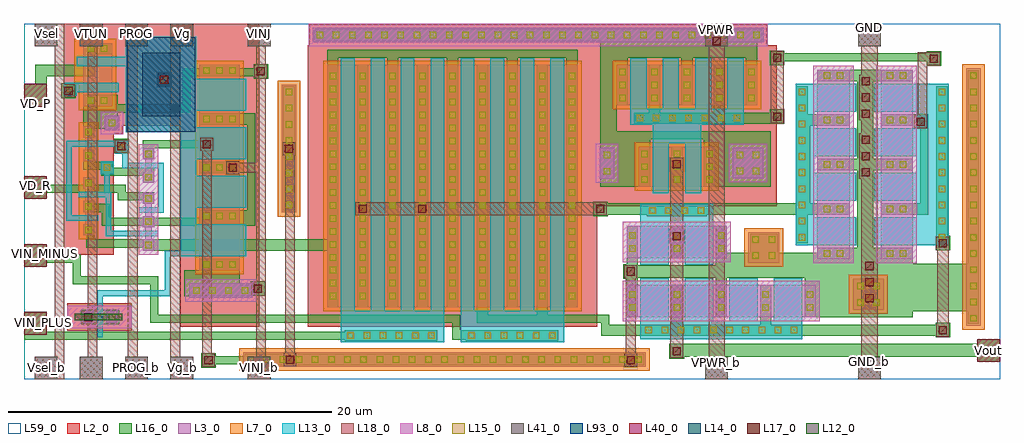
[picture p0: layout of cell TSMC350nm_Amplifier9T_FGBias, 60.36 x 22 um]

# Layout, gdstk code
from math import pi, radians
import gdstk
lib = gdstk.Library(unit=1e-6, precision=1e-09)
def R(c, l, rs):  # rectangles x0, y0, x1, y1
    for r in rs: c.add(gdstk.rectangle(r[:2], r[2:], *l))
def A(c, l, x, y, w, h, nx, ny, dx, dy):  # array of equal rectangles
    R(c, l, [(x+i*dx, y+j*dy, x+i*dx+w, y+j*dy+h) for i in range(nx) for j in range(ny)])
L2_0 = (2, 0)
L3_0 = (3, 0)
L7_0 = (7, 0)
L8_0 = (8, 0)
L12_0 = (12, 0)
L13_0 = (13, 0)
L14_0 = (14, 0)
L15_0 = (15, 0)
L16_0 = (16, 0)
L17_0 = (17, 0)
L18_0 = (18, 0)
L40_0 = (40, 0)
L41_0 = (41, 0)
L59_0 = (59, 0)
L93_0 = (93, 0)

pch_cdns_746573580120 = lib.new_cell('pch_CDNS_746573580120')
R(pch_cdns_746573580120, L2_0, [(-2.05,-1.2,13.05,3.7)])
A(pch_cdns_746573580120, L3_0, -0.85, 0, 0.7, 2.5, 5, 1, 3, 0)
A(pch_cdns_746573580120, L3_0, -0.15, 0, 2.3, 2.5, 4, 1, 3, 0)
R(pch_cdns_746573580120, L3_0, [(-0.85,0,-0.15,2.5), (11.15,0,11.85,2.5)])
R(pch_cdns_746573580120, L7_0, [(-1.1,-0.25,12.1,2.75)])
A(pch_cdns_746573580120, L13_0, 0, -0.4, 2, 3.1, 4, 1, 3, 0)
R(pch_cdns_746573580120, L13_0, [(0,2.7,11,3.05)])
A(pch_cdns_746573580120, L15_0, -0.7, 0.25, 0.4, 0.4, 5, 3, 3, 0.8)
A(pch_cdns_746573580120, L16_0, -0.85, 0, 0.7, 2.5, 5, 1, 3, 0)
R(pch_cdns_746573580120, L16_0, [(2.15,-0.95,8.85,-0.45), (2.15,-0.45,2.85,0), (8.15,-0.45,8.85,0)])
pch_cdns_746573580120.add(gdstk.Label('D', (8.5,1.25), layer=59, texttype=0))
pch_cdns_746573580120.add(gdstk.Label('D', (2.5,1.25), layer=59, texttype=0))
pch_cdns_746573580120.add(gdstk.Label('S', (5.5,1.25), layer=59, texttype=0))
pch_cdns_746573580120.add(gdstk.Label('S', (-0.5,1.25), layer=59, texttype=0))
pch_cdns_746573580120.add(gdstk.Label('S', (11.5,1.25), layer=59, texttype=0))
pch_cdns_746573580120.add(gdstk.Label('G', (10,1.15), layer=59, texttype=0))
pch_cdns_746573580120.add(gdstk.Label('G', (7,1.15), layer=59, texttype=0))
pch_cdns_746573580120.add(gdstk.Label('G', (4,1.15), layer=59, texttype=0))
pch_cdns_746573580120.add(gdstk.Label('G', (1,1.15), layer=59, texttype=0))

pch_cdns_746573580121 = lib.new_cell('pch_CDNS_746573580121')
R(pch_cdns_746573580121, L2_0, [(-2.05,-1.2,8.45,16.2)])
A(pch_cdns_746573580121, L3_0, -0.85, 0, 0.7, 15, 5, 1, 1.85, 0)
A(pch_cdns_746573580121, L3_0, -0.15, 0, 1.15, 15, 4, 1, 1.85, 0)
R(pch_cdns_746573580121, L3_0, [(-0.85,0,-0.15,15), (6.55,0,7.25,15)])
R(pch_cdns_746573580121, L7_0, [(-1.1,-0.25,7.5,15.25)])
A(pch_cdns_746573580121, L13_0, 0, -0.2, 0.85, 15.6, 4, 1, 1.85, 0)
R(pch_cdns_746573580121, L13_0, [(0,-0.55,6.4,-0.2)])
A(pch_cdns_746573580121, L15_0, -0.7, 0.5, 0.4, 0.4, 5, 18, 1.85, 0.8)
A(pch_cdns_746573580121, L16_0, -0.85, 0, 0.7, 15, 5, 1, 1.85, 0)
A(pch_cdns_746573580121, L16_0, -0.85, 15, 0.7, 0.45, 3, 1, 3.7, 0)
R(pch_cdns_746573580121, L16_0, [(1,-0.95,5.4,-0.45), (1,-0.45,1.7,0), (4.7,-0.45,5.4,0), (-0.85,15.45,7.25,15.95)])
pch_cdns_746573580121.add(gdstk.Label('D', (5.05,7.5), layer=59, texttype=0))
pch_cdns_746573580121.add(gdstk.Label('D', (1.35,7.5), layer=59, texttype=0))
pch_cdns_746573580121.add(gdstk.Label('S', (3.2,7.5), layer=59, texttype=0))
pch_cdns_746573580121.add(gdstk.Label('S', (-0.5,7.5), layer=59, texttype=0))
pch_cdns_746573580121.add(gdstk.Label('S', (6.9,7.5), layer=59, texttype=0))
pch_cdns_746573580121.add(gdstk.Label('G', (5.975,7.6), layer=59, texttype=0))
pch_cdns_746573580121.add(gdstk.Label('G', (4.125,7.6), layer=59, texttype=0))
pch_cdns_746573580121.add(gdstk.Label('G', (2.275,7.6), layer=59, texttype=0))
pch_cdns_746573580121.add(gdstk.Label('G', (0.425,7.6), layer=59, texttype=0))

nch_cdns_746573580122 = lib.new_cell('nch_CDNS_746573580122')
A(nch_cdns_746573580122, L3_0, -0.85, 0, 0.7, 2, 3, 1, 2.75, 0)
R(nch_cdns_746573580122, L3_0, [(-0.85,0,-0.15,2), (-0.15,0,1.9,2), (2.6,0,4.65,2), (4.65,0,5.35,2)])
R(nch_cdns_746573580122, L8_0, [(-1.1,-0.25,5.6,2.25)])
R(nch_cdns_746573580122, L13_0, [(0,-0.55,4.5,-0.2), (0,-0.2,1.75,2.4), (2.75,-0.2,4.5,2.4)])
A(nch_cdns_746573580122, L15_0, -0.7, 0.4, 0.4, 0.4, 3, 2, 2.75, 0.8)
A(nch_cdns_746573580122, L16_0, -0.85, 0, 0.7, 2, 3, 1, 2.75, 0)
R(nch_cdns_746573580122, L16_0, [(-0.85,2,-0.15,2.45), (4.65,2,5.35,2.45), (-0.85,2.45,5.35,2.95)])
nch_cdns_746573580122.add(gdstk.Label('D', (2.25,1), layer=59, texttype=0))
nch_cdns_746573580122.add(gdstk.Label('S', (-0.5,1), layer=59, texttype=0))
nch_cdns_746573580122.add(gdstk.Label('S', (5,1), layer=59, texttype=0))
nch_cdns_746573580122.add(gdstk.Label('G', (3.625,1.1), layer=59, texttype=0))
nch_cdns_746573580122.add(gdstk.Label('G', (0.875,1.1), layer=59, texttype=0))

pch_cdns_746573580123 = lib.new_cell('pch_CDNS_746573580123')
R(pch_cdns_746573580123, L2_0, [(-2.05,-1.2,5.05,3.7)])
A(pch_cdns_746573580123, L3_0, -0.85, 0, 0.7, 2.5, 3, 1, 2, 0)
R(pch_cdns_746573580123, L3_0, [(-0.85,0,-0.15,2.5), (-0.15,0,1.15,2.5), (1.85,0,3.15,2.5), (3.15,0,3.85,2.5)])
R(pch_cdns_746573580123, L7_0, [(-1.1,-0.25,4.1,2.75)])
R(pch_cdns_746573580123, L13_0, [(0,-0.4,1,2.7), (2,-0.4,3,2.7), (0,2.7,3,3.05)])
A(pch_cdns_746573580123, L15_0, -0.7, 0.25, 0.4, 0.4, 3, 3, 2, 0.8)
A(pch_cdns_746573580123, L16_0, -0.85, 0, 0.7, 2.5, 3, 1, 2, 0)
R(pch_cdns_746573580123, L16_0, [(-0.85,2.5,-0.15,2.95), (3.15,2.5,3.85,2.95), (-0.85,2.95,3.85,3.45)])
pch_cdns_746573580123.add(gdstk.Label('D', (1.5,1.25), layer=59, texttype=0))
pch_cdns_746573580123.add(gdstk.Label('S', (-0.5,1.25), layer=59, texttype=0))
pch_cdns_746573580123.add(gdstk.Label('S', (3.5,1.25), layer=59, texttype=0))
pch_cdns_746573580123.add(gdstk.Label('G', (2.5,1.15), layer=59, texttype=0))
pch_cdns_746573580123.add(gdstk.Label('G', (0.5,1.15), layer=59, texttype=0))

pch_cdns_746573580124 = lib.new_cell('pch_CDNS_746573580124')
R(pch_cdns_746573580124, L2_0, [(-2.05,-1.2,9.05,3.7)])
A(pch_cdns_746573580124, L3_0, -0.85, 0, 0.7, 2.5, 5, 1, 2, 0)
A(pch_cdns_746573580124, L3_0, -0.15, 0, 1.3, 2.5, 4, 1, 2, 0)
R(pch_cdns_746573580124, L3_0, [(-0.85,0,-0.15,2.5), (7.15,0,7.85,2.5)])
R(pch_cdns_746573580124, L7_0, [(-1.1,-0.25,8.1,2.75)])
A(pch_cdns_746573580124, L13_0, 0, -0.2, 1, 3.1, 4, 1, 2, 0)
R(pch_cdns_746573580124, L13_0, [(0,-0.55,7,-0.2)])
A(pch_cdns_746573580124, L15_0, -0.7, 0.25, 0.4, 0.4, 5, 3, 2, 0.8)
A(pch_cdns_746573580124, L16_0, -0.85, 0, 0.7, 2.5, 5, 1, 2, 0)
A(pch_cdns_746573580124, L16_0, -0.85, 2.5, 0.7, 0.45, 3, 1, 4, 0)
R(pch_cdns_746573580124, L16_0, [(1.15,-0.95,5.85,-0.45), (1.15,-0.45,1.85,0), (5.15,-0.45,5.85,0), (-0.85,2.95,7.85,3.45)])
pch_cdns_746573580124.add(gdstk.Label('D', (5.5,1.25), layer=59, texttype=0))
pch_cdns_746573580124.add(gdstk.Label('D', (1.5,1.25), layer=59, texttype=0))
pch_cdns_746573580124.add(gdstk.Label('S', (3.5,1.25), layer=59, texttype=0))
pch_cdns_746573580124.add(gdstk.Label('S', (-0.5,1.25), layer=59, texttype=0))
pch_cdns_746573580124.add(gdstk.Label('S', (7.5,1.25), layer=59, texttype=0))
pch_cdns_746573580124.add(gdstk.Label('G', (6.5,1.35), layer=59, texttype=0))
pch_cdns_746573580124.add(gdstk.Label('G', (4.5,1.35), layer=59, texttype=0))
pch_cdns_746573580124.add(gdstk.Label('G', (2.5,1.35), layer=59, texttype=0))
pch_cdns_746573580124.add(gdstk.Label('G', (0.5,1.35), layer=59, texttype=0))

nch_cdns_746573580125 = lib.new_cell('nch_CDNS_746573580125')
A(nch_cdns_746573580125, L3_0, -0.85, 0, 0.7, 2, 5, 1, 2.75, 0)
A(nch_cdns_746573580125, L3_0, -0.15, 0, 2.05, 2, 4, 1, 2.75, 0)
R(nch_cdns_746573580125, L3_0, [(-0.85,0,-0.15,2), (10.15,0,10.85,2)])
R(nch_cdns_746573580125, L8_0, [(-1.1,-0.25,11.1,2.25)])
A(nch_cdns_746573580125, L13_0, 0, -0.2, 1.75, 2.6, 4, 1, 2.75, 0)
R(nch_cdns_746573580125, L13_0, [(0,-0.55,10,-0.2)])
A(nch_cdns_746573580125, L15_0, -0.7, 0.4, 0.4, 0.4, 5, 2, 2.75, 0.8)
A(nch_cdns_746573580125, L16_0, -0.85, 0, 0.7, 2, 5, 1, 2.75, 0)
A(nch_cdns_746573580125, L16_0, -0.85, 2, 0.7, 0.45, 3, 1, 5.5, 0)
R(nch_cdns_746573580125, L16_0, [(1.9,-0.95,8.1,-0.45), (1.9,-0.45,2.6,0), (7.4,-0.45,8.1,0), (-0.85,2.45,10.85,2.95)])
nch_cdns_746573580125.add(gdstk.Label('D', (7.75,1), layer=59, texttype=0))
nch_cdns_746573580125.add(gdstk.Label('D', (2.25,1), layer=59, texttype=0))
nch_cdns_746573580125.add(gdstk.Label('S', (5,1), layer=59, texttype=0))
nch_cdns_746573580125.add(gdstk.Label('S', (-0.5,1), layer=59, texttype=0))
nch_cdns_746573580125.add(gdstk.Label('S', (10.5,1), layer=59, texttype=0))
nch_cdns_746573580125.add(gdstk.Label('G', (9.125,1.1), layer=59, texttype=0))
nch_cdns_746573580125.add(gdstk.Label('G', (6.375,1.1), layer=59, texttype=0))
nch_cdns_746573580125.add(gdstk.Label('G', (3.625,1.1), layer=59, texttype=0))
nch_cdns_746573580125.add(gdstk.Label('G', (0.875,1.1), layer=59, texttype=0))

pch_cdns_746573580126 = lib.new_cell('pch_CDNS_746573580126')
R(pch_cdns_746573580126, L2_0, [(-2.05,-1.2,2.65,3)])
R(pch_cdns_746573580126, L3_0, [(-0.85,0,-0.15,1.8), (-0.85,0,-0.15,1.8), (-0.15,0,0.75,1.8), (0.75,0,1.45,1.8), (0.75,0,1.45,1.8)])
R(pch_cdns_746573580126, L7_0, [(-1.1,-0.25,1.7,2.05)])
R(pch_cdns_746573580126, L13_0, [(0,-0.4,0.6,2.2)])
R(pch_cdns_746573580126, L15_0, [(0.9,0.3,1.3,0.7), (0.9,1.1,1.3,1.5)])
R(pch_cdns_746573580126, L16_0, [(0.75,0,1.45,1.8)])
pch_cdns_746573580126.add(gdstk.Label('S', (1.1,0.9), layer=59, texttype=0))
pch_cdns_746573580126.add(gdstk.Label('G', (0.3,0.9), layer=59, texttype=0))

pch_cdns_746573580127 = lib.new_cell('pch_CDNS_746573580127')
R(pch_cdns_746573580127, L2_0, [(-2.05,-1.2,2.65,3)])
R(pch_cdns_746573580127, L3_0, [(-0.85,0,-0.15,1.8), (-0.85,0,-0.15,1.8), (-0.15,0,0.75,1.8), (0.75,0,1.45,1.8), (0.75,0,1.45,1.8)])
R(pch_cdns_746573580127, L7_0, [(-1.1,-0.25,1.7,2.05)])
R(pch_cdns_746573580127, L13_0, [(0,-0.4,0.6,2.2)])
R(pch_cdns_746573580127, L15_0, [(-0.7,0.3,-0.3,0.7), (-0.7,1.1,-0.3,1.5)])
R(pch_cdns_746573580127, L16_0, [(-0.85,0,-0.15,1.8)])
pch_cdns_746573580127.add(gdstk.Label('D', (-0.5,0.9), layer=59, texttype=0))
pch_cdns_746573580127.add(gdstk.Label('G', (0.3,0.9), layer=59, texttype=0))

pch_cdns_746573580128 = lib.new_cell('pch_CDNS_746573580128')
R(pch_cdns_746573580128, L2_0, [(-2.1,-1.35,2.45,1.75)])
R(pch_cdns_746573580128, L3_0, [(-0.9,-0.15,-0.2,0.55), (0.55,-0.15,1.25,0.55), (-0.9,0,-0.2,0.4), (-0.2,0,0.55,0.4), (0.55,0,1.25,0.4)])
R(pch_cdns_746573580128, L7_0, [(-1.15,-0.4,1.5,0.8)])
R(pch_cdns_746573580128, L13_0, [(0,-0.4,0.35,0.8)])
R(pch_cdns_746573580128, L15_0, [(-0.75,0,-0.35,0.4), (0.7,0,1.1,0.4)])
R(pch_cdns_746573580128, L16_0, [(-0.9,-0.15,-0.2,0.55), (0.55,-0.15,1.25,0.55)])
pch_cdns_746573580128.add(gdstk.Label('D', (0.9,0.2), layer=59, texttype=0))
pch_cdns_746573580128.add(gdstk.Label('S', (-0.55,0.2), layer=59, texttype=0))
pch_cdns_746573580128.add(gdstk.Label('G', (0.175,0.2), layer=59, texttype=0))

pch_cdns_746573580129 = lib.new_cell('pch_CDNS_746573580129')
R(pch_cdns_746573580129, L2_0, [(-2.1,-1.35,3.9,1.75)])
A(pch_cdns_746573580129, L3_0, -0.9, -0.15, 0.7, 0.7, 3, 1, 1.45, 0)
R(pch_cdns_746573580129, L3_0, [(-0.9,0,-0.2,0.4), (-0.2,0,0.55,0.4), (1.25,0,2,0.4), (2,0,2.7,0.4)])
R(pch_cdns_746573580129, L7_0, [(-1.15,-0.4,2.95,0.8)])
R(pch_cdns_746573580129, L13_0, [(0,-0.4,0.35,0.8), (1.45,-0.4,1.8,0.8)])
A(pch_cdns_746573580129, L15_0, -0.75, 0, 0.4, 0.4, 3, 1, 1.45, 0)
A(pch_cdns_746573580129, L16_0, -0.9, -0.15, 0.7, 0.7, 3, 1, 1.45, 0)
pch_cdns_746573580129.add(gdstk.Label('D', (0.9,0.2), layer=59, texttype=0))
pch_cdns_746573580129.add(gdstk.Label('S', (-0.55,0.2), layer=59, texttype=0))
pch_cdns_746573580129.add(gdstk.Label('S', (2.35,0.2), layer=59, texttype=0))
pch_cdns_746573580129.add(gdstk.Label('G', (1.625,0.2), layer=59, texttype=0))
pch_cdns_746573580129.add(gdstk.Label('G', (0.175,0.2), layer=59, texttype=0))

nch_cdns_7465735801210 = lib.new_cell('nch_CDNS_7465735801210')
A(nch_cdns_7465735801210, L3_0, -0.9, -0.15, 0.7, 0.7, 3, 1, 1.45, 0)
R(nch_cdns_7465735801210, L3_0, [(-0.9,0,-0.2,0.4), (-0.2,0,0.55,0.4), (1.25,0,2,0.4), (2,0,2.7,0.4)])
R(nch_cdns_7465735801210, L8_0, [(-1.15,-0.4,2.95,0.8)])
R(nch_cdns_7465735801210, L13_0, [(0,-0.4,0.35,0.8), (1.45,-0.4,1.8,0.8)])
A(nch_cdns_7465735801210, L15_0, -0.75, 0, 0.4, 0.4, 3, 1, 1.45, 0)
A(nch_cdns_7465735801210, L16_0, -0.9, -0.15, 0.7, 0.7, 3, 1, 1.45, 0)
nch_cdns_7465735801210.add(gdstk.Label('D', (0.9,0.2), layer=59, texttype=0))
nch_cdns_7465735801210.add(gdstk.Label('S', (-0.55,0.2), layer=59, texttype=0))
nch_cdns_7465735801210.add(gdstk.Label('S', (2.35,0.2), layer=59, texttype=0))
nch_cdns_7465735801210.add(gdstk.Label('G', (1.625,0.2), layer=59, texttype=0))
nch_cdns_7465735801210.add(gdstk.Label('G', (0.175,0.2), layer=59, texttype=0))

nch_cdns_7465735801211 = lib.new_cell('nch_CDNS_7465735801211')
R(nch_cdns_7465735801211, L3_0, [(-0.9,-0.15,-0.2,0.55), (0.55,-0.15,1.25,0.55), (-0.9,0,-0.2,0.4), (-0.2,0,0.55,0.4), (0.55,0,1.25,0.4)])
R(nch_cdns_7465735801211, L8_0, [(-1.15,-0.4,1.5,0.8)])
R(nch_cdns_7465735801211, L13_0, [(0,-0.4,0.35,0.8)])
R(nch_cdns_7465735801211, L15_0, [(-0.75,0,-0.35,0.4), (0.7,0,1.1,0.4)])
R(nch_cdns_7465735801211, L16_0, [(-0.9,-0.15,-0.2,0.55), (0.55,-0.15,1.25,0.55)])
nch_cdns_7465735801211.add(gdstk.Label('D', (0.9,0.2), layer=59, texttype=0))
nch_cdns_7465735801211.add(gdstk.Label('S', (-0.55,0.2), layer=59, texttype=0))
nch_cdns_7465735801211.add(gdstk.Label('G', (0.175,0.2), layer=59, texttype=0))

pch_cdns_7465735801212 = lib.new_cell('pch_CDNS_7465735801212')
R(pch_cdns_7465735801212, L2_0, [(-2.05,-1.2,8.45,16.2)])
A(pch_cdns_7465735801212, L3_0, -0.85, 0, 0.7, 15, 5, 1, 1.85, 0)
A(pch_cdns_7465735801212, L3_0, -0.15, 0, 1.15, 15, 4, 1, 1.85, 0)
R(pch_cdns_7465735801212, L3_0, [(-0.85,0,-0.15,15), (6.55,0,7.25,15)])
R(pch_cdns_7465735801212, L7_0, [(-1.1,-0.25,7.5,15.25)])
A(pch_cdns_7465735801212, L13_0, 0, -0.2, 0.85, 15.6, 4, 1, 1.85, 0)
R(pch_cdns_7465735801212, L13_0, [(0,-0.55,6.4,-0.2)])
A(pch_cdns_7465735801212, L15_0, -0.7, 0.5, 0.4, 0.4, 5, 18, 1.85, 0.8)
A(pch_cdns_7465735801212, L16_0, -0.85, 0, 0.7, 15, 5, 1, 1.85, 0)
A(pch_cdns_7465735801212, L16_0, -0.85, 15, 0.7, 0.45, 3, 1, 3.7, 0)
R(pch_cdns_7465735801212, L16_0, [(-0.85,15.45,7.25,15.95)])
pch_cdns_7465735801212.add(gdstk.Label('D', (5.05,7.5), layer=59, texttype=0))
pch_cdns_7465735801212.add(gdstk.Label('D', (1.35,7.5), layer=59, texttype=0))
pch_cdns_7465735801212.add(gdstk.Label('S', (3.2,7.5), layer=59, texttype=0))
pch_cdns_7465735801212.add(gdstk.Label('S', (-0.5,7.5), layer=59, texttype=0))
pch_cdns_7465735801212.add(gdstk.Label('S', (6.9,7.5), layer=59, texttype=0))
pch_cdns_7465735801212.add(gdstk.Label('G', (5.975,7.6), layer=59, texttype=0))
pch_cdns_7465735801212.add(gdstk.Label('G', (4.125,7.6), layer=59, texttype=0))
pch_cdns_7465735801212.add(gdstk.Label('G', (2.275,7.6), layer=59, texttype=0))
pch_cdns_7465735801212.add(gdstk.Label('G', (0.425,7.6), layer=59, texttype=0))

m1_nwell_cdns_7465735801 = lib.new_cell('M1_NWELL_CDNS_746573580120')
R(m1_nwell_cdns_7465735801, L2_0, [(-2.15,-0.65,2.15,0.65)])
R(m1_nwell_cdns_7465735801, L3_0, [(-1.95,-0.45,1.95,0.45)])
R(m1_nwell_cdns_7465735801, L8_0, [(-2.2,-0.7,2.2,0.7)])
A(m1_nwell_cdns_7465735801, L15_0, -1.7, -0.2, 0.4, 0.4, 4, 1, 1, 0)
R(m1_nwell_cdns_7465735801, L16_0, [(-1.85,-0.35,1.85,0.35)])

c_m1_nwell_cdns_7465735801 = lib.new_cell('M1_NWELL_CDNS_746573580121')
R(c_m1_nwell_cdns_7465735801, L2_0, [(-0.65,-1.15,0.65,1.15)])
R(c_m1_nwell_cdns_7465735801, L3_0, [(-0.45,-0.95,0.45,0.95)])
R(c_m1_nwell_cdns_7465735801, L8_0, [(-0.7,-1.2,0.7,1.2)])
R(c_m1_nwell_cdns_7465735801, L15_0, [(-0.2,-0.7,0.2,-0.3), (-0.2,0.3,0.2,0.7)])
R(c_m1_nwell_cdns_7465735801, L16_0, [(-0.35,-0.85,0.35,0.85)])

c_m1_nwell_cdns_7465735801_ = lib.new_cell('M1_NWELL_CDNS_746573580122')
R(c_m1_nwell_cdns_7465735801_, L2_0, [(-1.15,-1.15,1.15,1.15)])
R(c_m1_nwell_cdns_7465735801_, L3_0, [(-0.95,-0.95,0.95,0.95)])
R(c_m1_nwell_cdns_7465735801_, L8_0, [(-1.2,-1.2,1.2,1.2)])
R(c_m1_nwell_cdns_7465735801_, L15_0, [(-0.7,-0.7,-0.3,-0.3), (0.3,-0.7,0.7,-0.3), (-0.7,0.3,-0.3,0.7), (0.3,0.3,0.7,0.7)])
R(c_m1_nwell_cdns_7465735801_, L16_0, [(-0.85,-0.85,0.85,0.85)])

m1_poly1_cdns_7465735801 = lib.new_cell('M1_POLY1_CDNS_746573580123')
R(m1_poly1_cdns_7465735801, L13_0, [(-0.4,-0.4,0.4,0.4)])
R(m1_poly1_cdns_7465735801, L15_0, [(-0.2,-0.2,0.2,0.2)])
R(m1_poly1_cdns_7465735801, L16_0, [(-0.45,-0.45,0.45,0.45)])

m1_pactive_cdns_74657358 = lib.new_cell('M1_PACTIVE_CDNS_746573580124')
R(m1_pactive_cdns_74657358, L3_0, [(-0.95,-0.95,0.95,0.95)])
R(m1_pactive_cdns_74657358, L7_0, [(-1.2,-1.2,1.2,1.2)])
R(m1_pactive_cdns_74657358, L15_0, [(-0.7,-0.7,-0.3,-0.3), (0.3,-0.7,0.7,-0.3), (-0.7,0.3,-0.3,0.7), (0.3,0.3,0.7,0.7)])
R(m1_pactive_cdns_74657358, L16_0, [(-0.85,-0.85,0.85,0.85)])

c_m1_nwell_cdns_7465735801__ = lib.new_cell('M1_NWELL_CDNS_746573580125')
R(c_m1_nwell_cdns_7465735801__, L2_0, [(-14.15,-0.65,14.15,0.65)])
R(c_m1_nwell_cdns_7465735801__, L3_0, [(-13.95,-0.45,13.95,0.45)])
R(c_m1_nwell_cdns_7465735801__, L8_0, [(-14.2,-0.7,14.2,0.7)])
A(c_m1_nwell_cdns_7465735801__, L15_0, -13.7, -0.2, 0.4, 0.4, 28, 1, 1, 0)
R(c_m1_nwell_cdns_7465735801__, L16_0, [(-13.85,-0.35,13.85,0.35)])

c_m1_pactive_cdns_74657358 = lib.new_cell('M1_PACTIVE_CDNS_746573580126')
R(c_m1_pactive_cdns_74657358, L3_0, [(-0.45,-7.95,0.45,7.95)])
R(c_m1_pactive_cdns_74657358, L7_0, [(-0.7,-8.2,0.7,8.2)])
A(c_m1_pactive_cdns_74657358, L15_0, -0.2, -7.7, 0.4, 0.4, 1, 16, 0, 1)
R(c_m1_pactive_cdns_74657358, L16_0, [(-0.35,-7.85,0.35,7.85)])

m2_m1_cdns_746573580127 = lib.new_cell('M2_M1_CDNS_746573580127')
R(m2_m1_cdns_746573580127, L16_0, [(-0.45,-0.45,0.45,0.45)])
R(m2_m1_cdns_746573580127, L17_0, [(-0.25,-0.25,0.25,0.25)])
R(m2_m1_cdns_746573580127, L18_0, [(-0.4,-0.4,0.4,0.4)])

m2_m1_cdns_746573580128 = lib.new_cell('M2_M1_CDNS_746573580128')
R(m2_m1_cdns_746573580128, L16_0, [(-0.45,-1.45,0.45,1.45)])
A(m2_m1_cdns_746573580128, L17_0, -0.25, -1.25, 0.5, 0.5, 1, 3, 0, 1)
R(m2_m1_cdns_746573580128, L18_0, [(-0.4,-1.4,0.4,1.4)])

c_m1_poly1_cdns_7465735801 = lib.new_cell('M1_POLY1_CDNS_746573580129')
R(c_m1_poly1_cdns_7465735801, L13_0, [(-0.4,-4.9,0.4,4.9)])
A(c_m1_poly1_cdns_7465735801, L15_0, -0.2, -4.7, 0.4, 0.4, 1, 10, 0, 1)
R(c_m1_poly1_cdns_7465735801, L16_0, [(-0.35,-4.85,0.35,4.85)])

c_m1_poly1_cdns_7465735801_ = lib.new_cell('M1_POLY1_CDNS_7465735801210')
R(c_m1_poly1_cdns_7465735801_, L13_0, [(-2.9,-0.4,2.9,0.4)])
A(c_m1_poly1_cdns_7465735801_, L15_0, -2.7, -0.2, 0.4, 0.4, 6, 1, 1, 0)
R(c_m1_poly1_cdns_7465735801_, L16_0, [(-2.85,-0.35,2.85,0.35)])

c_m1_poly1_cdns_7465735801__ = lib.new_cell('M1_POLY1_CDNS_7465735801211')
R(c_m1_poly1_cdns_7465735801__, L13_0, [(-1.9,-0.4,1.9,0.4)])
A(c_m1_poly1_cdns_7465735801__, L15_0, -1.7, -0.2, 0.4, 0.4, 4, 1, 1, 0)
R(c_m1_poly1_cdns_7465735801__, L16_0, [(-1.85,-0.35,1.85,0.35)])

c_m1_poly1_cdns_7465735801___ = lib.new_cell('M1_POLY1_CDNS_7465735801212')
R(c_m1_poly1_cdns_7465735801___, L13_0, [(-3.4,-0.4,3.4,0.4)])
A(c_m1_poly1_cdns_7465735801___, L15_0, -3.2, -0.2, 0.4, 0.4, 7, 1, 1, 0)
R(c_m1_poly1_cdns_7465735801___, L16_0, [(-3.35,-0.35,3.35,0.35)])

c_m1_poly1_cdns_7465735801____ = lib.new_cell('M1_POLY1_CDNS_7465735801213')
R(c_m1_poly1_cdns_7465735801____, L13_0, [(-4.9,-0.4,4.9,0.4)])
A(c_m1_poly1_cdns_7465735801____, L15_0, -4.7, -0.2, 0.4, 0.4, 10, 1, 1, 0)
R(c_m1_poly1_cdns_7465735801____, L16_0, [(-4.85,-0.35,4.85,0.35)])

c_m1_pactive_cdns_74657358_ = lib.new_cell('M1_PACTIVE_CDNS_7465735801214')
R(c_m1_pactive_cdns_74657358_, L3_0, [(-12.45,-0.45,12.45,0.45)])
R(c_m1_pactive_cdns_74657358_, L7_0, [(-12.7,-0.7,12.7,0.7)])
A(c_m1_pactive_cdns_74657358_, L15_0, -12.2, -0.2, 0.4, 0.4, 25, 1, 1, 0)
R(c_m1_pactive_cdns_74657358_, L16_0, [(-12.35,-0.35,12.35,0.35)])

c_m1_nwell_cdns_7465735801___ = lib.new_cell('M1_NWELL_CDNS_7465735801215')
R(c_m1_nwell_cdns_7465735801___, L2_0, [(-0.65,-0.65,0.65,0.65)])
R(c_m1_nwell_cdns_7465735801___, L3_0, [(-0.45,-0.45,0.45,0.45)])
R(c_m1_nwell_cdns_7465735801___, L8_0, [(-0.7,-0.7,0.7,0.7)])
R(c_m1_nwell_cdns_7465735801___, L15_0, [(-0.2,-0.2,0.2,0.2)])
R(c_m1_nwell_cdns_7465735801___, L16_0, [(-0.35,-0.35,0.35,0.35)])

c_m1_poly1_cdns_7465735801_____ = lib.new_cell('M1_POLY1_CDNS_7465735801216')
R(c_m1_poly1_cdns_7465735801_____, L13_0, [(-0.4,-0.4,0.4,0.4)])
R(c_m1_poly1_cdns_7465735801_____, L15_0, [(-0.2,-0.2,0.2,0.2)])
R(c_m1_poly1_cdns_7465735801_____, L16_0, [(-0.35,-0.35,0.35,0.35)])

c_m1_pactive_cdns_74657358__ = lib.new_cell('M1_PACTIVE_CDNS_7465735801217')
R(c_m1_pactive_cdns_74657358__, L3_0, [(-0.45,-3.95,0.45,3.95)])
R(c_m1_pactive_cdns_74657358__, L7_0, [(-0.7,-4.2,0.7,4.2)])
A(c_m1_pactive_cdns_74657358__, L15_0, -0.2, -3.7, 0.4, 0.4, 1, 8, 0, 1)
R(c_m1_pactive_cdns_74657358__, L16_0, [(-0.35,-3.85,0.35,3.85)])

tsmc350nm_amplifier9t_fg = lib.new_cell('TSMC350nm_Amplifier9T_FGBias')
R(tsmc350nm_amplifier9t_fg, L2_0, [(2.66,3,6.65,4.7), (9.65,3.25,14.55,5.55), (35.45,10.7,46.55,15.75), (6.65,15.7,9.65,20.65), (6.65,20.65,14.55,22)])
R(tsmc350nm_amplifier9t_fg, L3_0, [(3.62,3.5,4.32,4.2), (5.08,3.5,5.78,4.2)])
R(tsmc350nm_amplifier9t_fg, L7_0, [(3.4,12.75,4.6,13.25), (3.1,18.25,3.4,21.05)])
R(tsmc350nm_amplifier9t_fg, L8_0, [(2.66,3.15,6.65,4.55), (7.1,11.8,8.3,11.9)])
R(tsmc350nm_amplifier9t_fg, L12_0, [(3.14,3.65,6.09,4.05)])
R(tsmc350nm_amplifier9t_fg, L13_0, [(19.6,2.3,26,3.9), (27,2.3,33.4,3.1), (38.12,2.49,48.12,3.29), (4.53,2.62,4.88,5.15), (27,3.1,33.4,3.9), (4.53,5.15,9.05,5.5), (8.7,5.5,9.05,7.77), (8.7,7.6,9.69,7.95), (9.65,7.6,10.3,18.6), (47.72,8.29,48.52,18.29), (55.52,8.29,57.18,18.29), (5.05,8.85,7.1,9.2), (5.05,8.98,5.4,11.6), (2.6,9.8,2.95,14.75), (2.79,9.8,3.79,10.15), (38.12,10.05,42.62,10.85), (8.3,10.3,8.65,13.4), (4.6,11.25,5.31,11.6), (4.96,11.25,5.31,13.07), (6.09,13.05,6.44,14.74), (6.1,13.05,7.1,13.4), (2.79,14.4,3.79,14.75), (4.6,14.4,6.44,14.75), (38.88,14.95,41.88,15.8), (6.3,15.27,10.65,21.2), (37.5,15.75,44.5,16.4), (5.85,19.35,6.3,19.95)])
R(tsmc350nm_amplifier9t_fg, L14_0, [(7.3,16.27,9.65,20.2)])
R(tsmc350nm_amplifier9t_fg, L15_0, [(3.77,3.65,4.17,4.05), (5.23,3.65,5.63,4.05)])
A(tsmc350nm_amplifier9t_fg, L16_0, 0, 2.77, 1.4, 1.4, 1, 3, 0, 4.2)
R(tsmc350nm_amplifier9t_fg, L16_0, [(58.96,1.09,60.36,2.49), (26.98,2.95,27.33,3.05), (3.52,3.4,4.42,4.3), (3.52,3.4,4.42,4.3), (3.52,3.4,5.88,4.3), (4.98,3.4,5.88,4.3), (4.98,3.4,5.88,4.3), (48.97,3.84,54.97,6.79), (54.83,4.22,58.46,7.14), (9.9,5.15,13.35,6.75), (43.47,6.79,54.97,7.83), (36.15,11.9,38.03,15.35), (42.73,11.9,46.19,15.35), (4.79,12.6,4.99,12.82), (3.65,13.37,4.35,13.5), (3.65,15.5,5.79,17.6), (0,16.87,1.4,18.27), (3.65,16.9,5.45,17.6), (36.65,20.4,45.35,20.95)])
R(tsmc350nm_amplifier9t_fg, L17_0, [(3.73,3.6,4.23,4.1)])
A(tsmc350nm_amplifier9t_fg, L18_0, 0.66, 0, 1.4, 1.4, 4, 2, 2.8, 20.6)
R(tsmc350nm_amplifier9t_fg, L18_0, [(13.85,0,15.25,1.4), (42.13,0,43.53,1.4), (51.59,0,52.99,1.4), (3.56,3.45,4.36,4.25), (13.85,20.6,15.25,22), (42.13,20.6,43.53,22), (51.59,20.6,52.99,22)])
R(tsmc350nm_amplifier9t_fg, L40_0, [(58.96,1.09,60.36,2.49), (0,2.76,1.4,4.16), (0,6.97,1.4,8.37), (0,11.17,1.4,12.57), (0,16.87,1.4,18.27)])
A(tsmc350nm_amplifier9t_fg, L41_0, 0.66, 0, 1.4, 1.4, 4, 2, 2.8, 20.6)
R(tsmc350nm_amplifier9t_fg, L41_0, [(13.85,0,15.25,1.4), (51.59,0,52.99,1.4), (42.13,0.01,43.53,1.4), (13.85,20.6,15.25,22), (51.59,20.6,52.99,22), (42.13,20.61,43.53,22)])
R(tsmc350nm_amplifier9t_fg, L59_0, [(0,0,60.36,22)])
R(tsmc350nm_amplifier9t_fg, L93_0, [(6.35,15.32,10.6,21.15)])
tsmc350nm_amplifier9t_fg.add(gdstk.FlexPath([(1.15,7.46),(3.25,7.46)], 0.5, ends="extended", simple_path=True, layer=16, datatype=0))  # L16_0
tsmc350nm_amplifier9t_fg.add(gdstk.FlexPath([(1.15,6.97),(1.15,7.46)], 0.5, ends=(0, 0.25), simple_path=True, layer=16, datatype=0))  # L16_0
tsmc350nm_amplifier9t_fg.add(gdstk.FlexPath([(3.25,7.46),(3.25,6.12)], 0.5, ends="extended", simple_path=True, layer=16, datatype=0))  # L16_0
tsmc350nm_amplifier9t_fg.add(gdstk.FlexPath([(26.01,1.18),(26.01,1.22)], 0.5, ends=(0.25, 0), simple_path=True, layer=16, datatype=0))  # L16_0
tsmc350nm_amplifier9t_fg.add(gdstk.FlexPath([(7.35,14.55),(11.31,14.55)], 0.5, ends="flush", simple_path=True, layer=16, datatype=0))  # L16_0
tsmc350nm_amplifier9t_fg.add(gdstk.FlexPath([(10.05,19),(14.93,19)], 0.5, ends=(0.25, 0), simple_path=True, layer=16, datatype=0))  # L16_0
tsmc350nm_amplifier9t_fg.add(gdstk.FlexPath([(10.05,16.75),(10.05,19)], 0.5, ends="extended", simple_path=True, layer=16, datatype=0))  # L16_0
tsmc350nm_amplifier9t_fg.add(gdstk.FlexPath([(5.63,16.75),(10.05,16.75)], 0.5, ends=(0, 0.25), simple_path=True, layer=16, datatype=0))  # L16_0
tsmc350nm_amplifier9t_fg.add(gdstk.FlexPath([(1.05,19.1),(1.05,18.25)], 0.7, ends=(0.35, 0), simple_path=True, layer=16, datatype=0))  # L16_0
tsmc350nm_amplifier9t_fg.add(gdstk.FlexPath([(4.02,19.1),(1.05,19.1)], 0.7, ends="extended", simple_path=True, layer=16, datatype=0))  # L16_0
tsmc350nm_amplifier9t_fg.add(gdstk.FlexPath([(26.74,2.7),(30.18,2.7)], 0.5, ends=(0.25, 0), simple_path=True, layer=16, datatype=0))  # L16_0
tsmc350nm_amplifier9t_fg.add(gdstk.FlexPath([(8.06,6.12),(8.06,3.75)], 0.5, ends="extended", simple_path=True, layer=16, datatype=0))  # L16_0
tsmc350nm_amplifier9t_fg.add(gdstk.FlexPath([(26.74,3.75),(26.74,2.7)], 0.5, ends="extended", simple_path=True, layer=16, datatype=0))  # L16_0
tsmc350nm_amplifier9t_fg.add(gdstk.FlexPath([(8.06,3.75),(26.74,3.75)], 0.5, ends="extended", simple_path=True, layer=16, datatype=0))  # L16_0
tsmc350nm_amplifier9t_fg.add(gdstk.FlexPath([(11.28,1.18),(26.01,1.18)], 0.5, ends=(0, 0.25), simple_path=True, layer=16, datatype=0))  # L16_0
tsmc350nm_amplifier9t_fg.add(gdstk.FlexPath([(3.65,13.2),(5.24,13.2)], 0.5, ends=(0, 0.25), simple_path=True, layer=16, datatype=0))  # L16_0
tsmc350nm_amplifier9t_fg.add(gdstk.FlexPath([(6.05,11.8),(6.05,11.32)], 0.5, ends="extended", simple_path=True, layer=16, datatype=0))  # L16_0
tsmc350nm_amplifier9t_fg.add(gdstk.FlexPath([(5.24,13.2),(5.24,12.85)], 0.5, ends="extended", simple_path=True, layer=16, datatype=0))  # L16_0
tsmc350nm_amplifier9t_fg.add(gdstk.FlexPath([(4,10.6),(5.05,10.6)], 0.5, ends=(0, 0.25), simple_path=True, layer=16, datatype=0))  # L16_0
tsmc350nm_amplifier9t_fg.add(gdstk.FlexPath([(5.05,10.6),(5.05,9.75)], 0.5, ends="extended", simple_path=True, layer=16, datatype=0))  # L16_0
tsmc350nm_amplifier9t_fg.add(gdstk.FlexPath([(5.24,12.85),(8.05,12.85)], 0.5, ends=(0.25, 0), simple_path=True, layer=16, datatype=0))  # L16_0
tsmc350nm_amplifier9t_fg.add(gdstk.FlexPath([(4.1,8.9),(4.1,8.4)], 0.5, ends=(0, 0.25), simple_path=True, layer=16, datatype=0))  # L16_0
tsmc350nm_amplifier9t_fg.add(gdstk.FlexPath([(4.1,8.4),(8.05,8.4)], 0.5, ends=(0.25, 0), simple_path=True, layer=16, datatype=0))  # L16_0
tsmc350nm_amplifier9t_fg.add(gdstk.FlexPath([(5.05,9.75),(14.3,9.75)], 0.5, ends=(0.25, 0), simple_path=True, layer=16, datatype=0))  # L16_0
tsmc350nm_amplifier9t_fg.add(gdstk.FlexPath([(4.02,20.45),(4.02,19.1)], 0.7, ends="extended", simple_path=True, layer=16, datatype=0))  # L16_0
tsmc350nm_amplifier9t_fg.add(gdstk.FlexPath([(0.04,11.8),(6.05,11.8)], 0.5, ends=(0, 0.25), simple_path=True, layer=16, datatype=0))  # L16_0
tsmc350nm_amplifier9t_fg.add(gdstk.FlexPath([(6.05,11.32),(8.05,11.32)], 0.5, ends=(0.25, 0), simple_path=True, layer=16, datatype=0))  # L16_0
tsmc350nm_amplifier9t_fg.add(gdstk.FlexPath([(0.25,2.7),(0.25,2.76)], 0.5, ends=(0.25, 0), simple_path=True, layer=16, datatype=0))  # L16_0
tsmc350nm_amplifier9t_fg.add(gdstk.FlexPath([(29.3,21.3),(36.11,21.3)], 0.7, ends=(0, 0.25), simple_path=True, layer=16, datatype=0))  # L16_0
tsmc350nm_amplifier9t_fg.add(gdstk.FlexPath([(36.15,21.3),(36.15,11.9)], 1, ends=(0.35, 0), simple_path=True, layer=16, datatype=0))  # L16_0
tsmc350nm_amplifier9t_fg.add(gdstk.FlexPath([(8.05,8.3),(18.98,8.3)], 0.7, ends="flush", simple_path=True, layer=16, datatype=0))  # L16_0
tsmc350nm_amplifier9t_fg.add(gdstk.FlexPath([(48.13,10.54),(35.65,10.54)], 0.7, ends=(0, 0.35), simple_path=True, layer=16, datatype=0))  # L16_0
tsmc350nm_amplifier9t_fg.add(gdstk.FlexPath([(35.65,10.54),(35.65,10.55)], 0.7, ends=(0.35, 0), simple_path=True, layer=16, datatype=0))  # L16_0
tsmc350nm_amplifier9t_fg.add(gdstk.FlexPath([(20.08,2.7),(0.25,2.7)], 0.5, ends=(0, 0.25), simple_path=True, layer=16, datatype=0))  # L16_0
tsmc350nm_amplifier9t_fg.add(gdstk.FlexPath([(3.25,6.12),(8.06,6.12)], 0.5, ends="extended", simple_path=True, layer=16, datatype=0))  # L16_0
tsmc350nm_amplifier9t_fg.add(gdstk.FlexPath([(40.37,1.79),(60.36,1.79)], 0.8, ends="flush", simple_path=True, layer=16, datatype=0))  # L16_0
tsmc350nm_amplifier9t_fg.add(gdstk.FlexPath([(46.58,19.92),(56.07,19.92)], 0.5, ends="flush", simple_path=True, layer=16, datatype=0))  # L16_0
tsmc350nm_amplifier9t_fg.add(gdstk.FlexPath([(44.1,16.15),(46.58,16.15)], 0.7, ends="flush", simple_path=True, layer=16, datatype=0))  # L16_0
tsmc350nm_amplifier9t_fg.add(gdstk.FlexPath([(56.87,8.43),(56.77,8.43)], 0.5, ends=(0, 0.35), simple_path=True, layer=16, datatype=0))  # L16_0
tsmc350nm_amplifier9t_fg.add(gdstk.FlexPath([(35.95,3.75),(32.22,3.75)], 0.5, ends=(0.25, 0), simple_path=True, layer=16, datatype=0))  # L16_0
tsmc350nm_amplifier9t_fg.add(gdstk.FlexPath([(35.95,3.33),(35.95,3.75)], 0.5, ends="extended", simple_path=True, layer=16, datatype=0))  # L16_0
tsmc350nm_amplifier9t_fg.add(gdstk.FlexPath([(56.83,3.04),(35.7,3.04)], 0.7, ends="flush", simple_path=True, layer=16, datatype=0))  # L16_0
tsmc350nm_amplifier9t_fg.add(gdstk.FlexPath([(16.45,14.27),(16.39,14.27)], 0.6, ends=(0.3, 0), simple_path=True, layer=18, datatype=0))  # L18_0
tsmc350nm_amplifier9t_fg.add(gdstk.FlexPath([(16.45,1.22),(16.45,14.27)], 0.6, ends=(0, 0.3), simple_path=True, layer=18, datatype=0))  # L18_0
tsmc350nm_amplifier9t_fg.add(gdstk.FlexPath([(11.31,1.62),(11.28,1.62)], 0.6, ends=(0.3, 0), simple_path=True, layer=18, datatype=0))  # L18_0
tsmc350nm_amplifier9t_fg.add(gdstk.FlexPath([(11.31,1.62),(11.31,1.15)], 0.6, ends=(0.3, 0), simple_path=True, layer=18, datatype=0))  # L18_0
tsmc350nm_amplifier9t_fg.add(gdstk.FlexPath([(11.31,14.55),(11.31,1.62)], 0.6, ends=(0, 0.3), simple_path=True, layer=18, datatype=0))  # L18_0
tsmc350nm_amplifier9t_fg.add(gdstk.FlexPath([(14.65,22),(14.65,0)], 0.6, ends="flush", simple_path=True, layer=18, datatype=0))  # L18_0
tsmc350nm_amplifier9t_fg.add(gdstk.FlexPath([(2.2,22),(2.2,0)], 0.6, ends="flush", simple_path=True, layer=18, datatype=0))  # L18_0
tsmc350nm_amplifier9t_fg.add(gdstk.FlexPath([(6.72,22),(6.72,0)], 0.6, ends="flush", simple_path=True, layer=18, datatype=0))  # L18_0
tsmc350nm_amplifier9t_fg.add(gdstk.FlexPath([(9.36,22),(9.36,0)], 0.6, ends="flush", simple_path=True, layer=18, datatype=0))  # L18_0
tsmc350nm_amplifier9t_fg.add(gdstk.FlexPath([(4.24,22),(4.24,0)], 0.6, ends="flush", simple_path=True, layer=18, datatype=0))  # L18_0
tsmc350nm_amplifier9t_fg.add(gdstk.FlexPath([(52.29,0),(52.29,22)], 1, ends="flush", simple_path=True, layer=18, datatype=0))  # L18_0
tsmc350nm_amplifier9t_fg.add(gdstk.FlexPath([(40.37,13.3),(40.37,1.41)], 0.8, ends="flush", simple_path=True, layer=18, datatype=0))  # L18_0
tsmc350nm_amplifier9t_fg.add(gdstk.FlexPath([(37.52,1.19),(37.52,6.67)], 0.6, ends="flush", simple_path=True, layer=18, datatype=0))  # L18_0
tsmc350nm_amplifier9t_fg.add(gdstk.FlexPath([(35.65,10.55),(35.65,10.39)], 0.8, ends=(0.4, 0), simple_path=True, layer=18, datatype=0))  # L18_0
tsmc350nm_amplifier9t_fg.add(gdstk.FlexPath([(35.65,10.55),(20.49,10.55)], 0.8, ends=(0.4, 0), simple_path=True, layer=18, datatype=0))  # L18_0
tsmc350nm_amplifier9t_fg.add(gdstk.FlexPath([(42.84,22),(42.84,0)], 1, ends="flush", simple_path=True, layer=18, datatype=0))  # L18_0
tsmc350nm_amplifier9t_fg.add(gdstk.FlexPath([(12.9,13.09),(14.71,13.09)], 0.6, ends="flush", simple_path=True, layer=18, datatype=0))  # L18_0
tsmc350nm_amplifier9t_fg.add(gdstk.FlexPath([(56.83,8.43),(56.83,3.04)], 0.7, ends="flush", simple_path=True, layer=18, datatype=0))  # L18_0
tsmc350nm_amplifier9t_fg.add(gdstk.FlexPath([(55.57,20.24),(55.57,16.06)], 0.6, ends="flush", simple_path=True, layer=18, datatype=0))  # L18_0
tsmc350nm_amplifier9t_fg.add(gdstk.FlexPath([(46.58,16.36),(46.58,20.29)], 0.8, ends="flush", simple_path=True, layer=18, datatype=0))  # L18_0
tsmc350nm_amplifier9t_fg.add(gdstk.Reference(pch_cdns_746573580120, (13.35,7.6), rotation=pi/2))
tsmc350nm_amplifier9t_fg.add(gdstk.Reference(pch_cdns_746573580121, (27,4.45)))
tsmc350nm_amplifier9t_fg.add(gdstk.Reference(nch_cdns_746573580122, (38.12,9.5), x_reflection=True))
tsmc350nm_amplifier9t_fg.add(gdstk.Reference(pch_cdns_746573580123, (38.88,11.9)))
tsmc350nm_amplifier9t_fg.add(gdstk.Reference(pch_cdns_746573580124, (37.5,16.95)))
tsmc350nm_amplifier9t_fg.add(gdstk.Reference(nch_cdns_746573580125, (54.97,8.29), rotation=pi/2))
tsmc350nm_amplifier9t_fg.add(gdstk.Reference(nch_cdns_746573580125, (49.07,8.29), rotation=pi/2, x_reflection=True))
tsmc350nm_amplifier9t_fg.add(gdstk.Reference(nch_cdns_746573580125, (38.12,3.84)))
tsmc350nm_amplifier9t_fg.add(gdstk.Reference(pch_cdns_746573580126, (3.65,19.35), rotation=pi/2, x_reflection=True))
tsmc350nm_amplifier9t_fg.add(gdstk.Reference(pch_cdns_746573580127, (3.65,17.75), rotation=pi/2, x_reflection=True))
tsmc350nm_amplifier9t_fg.add(gdstk.Reference(pch_cdns_746573580128, (4.2,14.4), rotation=pi/2))
tsmc350nm_amplifier9t_fg.add(gdstk.Reference(pch_cdns_746573580129, (4.2,9.8), rotation=pi/2))
tsmc350nm_amplifier9t_fg.add(gdstk.Reference(nch_cdns_7465735801210, (7.9,8.85), rotation=pi/2))
tsmc350nm_amplifier9t_fg.add(gdstk.Reference(nch_cdns_7465735801211, (7.9,13.05), rotation=pi/2))
tsmc350nm_amplifier9t_fg.add(gdstk.Reference(pch_cdns_7465735801212, (19.6,4.45)))
tsmc350nm_amplifier9t_fg.add(gdstk.Reference(m1_nwell_cdns_7465735801, (12.16,5.5)))
tsmc350nm_amplifier9t_fg.add(gdstk.Reference(c_m1_nwell_cdns_7465735801, (36.06,13.37)))
tsmc350nm_amplifier9t_fg.add(gdstk.Reference(c_m1_nwell_cdns_7465735801_, (44.78,13.38)))
tsmc350nm_amplifier9t_fg.add(gdstk.Reference(m1_poly1_cdns_7465735801, (8.66,18.53)))
tsmc350nm_amplifier9t_fg.add(gdstk.Reference(m1_pactive_cdns_74657358, (52.22,5.26)))
tsmc350nm_amplifier9t_fg.add(gdstk.Reference(m1_pactive_cdns_74657358, (45.75,8.15)))
tsmc350nm_amplifier9t_fg.add(gdstk.Reference(c_m1_nwell_cdns_7465735801__, (31.8,21.3)))
tsmc350nm_amplifier9t_fg.add(gdstk.Reference(c_m1_pactive_cdns_74657358, (58.71,11.28)))
tsmc350nm_amplifier9t_fg.add(gdstk.Reference(m2_m1_cdns_746573580127, (16.39,14.27)))
tsmc350nm_amplifier9t_fg.add(gdstk.Reference(m2_m1_cdns_746573580127, (11.41,1.18)))
tsmc350nm_amplifier9t_fg.add(gdstk.Reference(m2_m1_cdns_746573580127, (11.31,14.55)))
tsmc350nm_amplifier9t_fg.add(gdstk.Reference(m2_m1_cdns_746573580127, (14.65,19.05)))
tsmc350nm_amplifier9t_fg.add(gdstk.Reference(m2_m1_cdns_746573580127, (6.02,14.42)))
tsmc350nm_amplifier9t_fg.add(gdstk.Reference(m2_m1_cdns_746573580127, (2.75,17.85)))
tsmc350nm_amplifier9t_fg.add(gdstk.Reference(m2_m1_cdns_746573580127, (8.66,18.53)))
tsmc350nm_amplifier9t_fg.add(gdstk.Reference(m2_m1_cdns_746573580127, (16.45,1.22)))
tsmc350nm_amplifier9t_fg.add(gdstk.Reference(m2_m1_cdns_746573580127, (56.83,3.04)))
tsmc350nm_amplifier9t_fg.add(gdstk.Reference(m2_m1_cdns_746573580127, (56.83,8.43)))
tsmc350nm_amplifier9t_fg.add(gdstk.Reference(m2_m1_cdns_746573580127, (56.27,19.84)))
tsmc350nm_amplifier9t_fg.add(gdstk.Reference(m2_m1_cdns_746573580127, (55.47,15.94)))
tsmc350nm_amplifier9t_fg.add(gdstk.Reference(m2_m1_cdns_746573580127, (46.58,19.88)))
tsmc350nm_amplifier9t_fg.add(gdstk.Reference(m2_m1_cdns_746573580127, (46.58,16.25)))
tsmc350nm_amplifier9t_fg.add(gdstk.Reference(m2_m1_cdns_746573580127, (40.37,8.86)))
tsmc350nm_amplifier9t_fg.add(gdstk.Reference(m2_m1_cdns_746573580127, (40.37,13.3)))
tsmc350nm_amplifier9t_fg.add(gdstk.Reference(m2_m1_cdns_746573580127, (40.37,1.74)))
tsmc350nm_amplifier9t_fg.add(gdstk.Reference(m2_m1_cdns_746573580127, (37.52,1.19)))
tsmc350nm_amplifier9t_fg.add(gdstk.Reference(m2_m1_cdns_746573580127, (37.52,6.67)))
tsmc350nm_amplifier9t_fg.add(gdstk.Reference(m2_m1_cdns_746573580127, (35.65,10.55)))
tsmc350nm_amplifier9t_fg.add(gdstk.Reference(m2_m1_cdns_746573580127, (24.62,10.55)))
tsmc350nm_amplifier9t_fg.add(gdstk.Reference(m2_m1_cdns_746573580127, (20.95,10.54)))
tsmc350nm_amplifier9t_fg.add(gdstk.Reference(m2_m1_cdns_746573580127, (42.84,20.91)))
tsmc350nm_amplifier9t_fg.add(gdstk.Reference(m2_m1_cdns_746573580127, (12.9,13.09)))
tsmc350nm_amplifier9t_fg.add(gdstk.Reference(m2_m1_cdns_746573580127, (14.46,5.61)))
tsmc350nm_amplifier9t_fg.add(gdstk.Reference(m2_m1_cdns_746573580128, (52.29,6.01)))
tsmc350nm_amplifier9t_fg.add(gdstk.Reference(m2_m1_cdns_746573580128, (52.06,13.81)))
tsmc350nm_amplifier9t_fg.add(gdstk.Reference(m2_m1_cdns_746573580128, (52.06,17.43)))
tsmc350nm_amplifier9t_fg.add(gdstk.Reference(c_m1_poly1_cdns_7465735801, (56.77,13.28)))
tsmc350nm_amplifier9t_fg.add(gdstk.Reference(c_m1_poly1_cdns_7465735801, (48.12,13.28)))
tsmc350nm_amplifier9t_fg.add(gdstk.Reference(c_m1_poly1_cdns_7465735801, (48.12,13.28)))
tsmc350nm_amplifier9t_fg.add(gdstk.Reference(c_m1_poly1_cdns_7465735801_, (30.18,2.7)))
tsmc350nm_amplifier9t_fg.add(gdstk.Reference(c_m1_poly1_cdns_7465735801_, (22.7,2.7)))
tsmc350nm_amplifier9t_fg.add(gdstk.Reference(c_m1_poly1_cdns_7465735801__, (40.36,10.45)))
tsmc350nm_amplifier9t_fg.add(gdstk.Reference(c_m1_poly1_cdns_7465735801___, (41.1,16.15)))
tsmc350nm_amplifier9t_fg.add(gdstk.Reference(c_m1_poly1_cdns_7465735801____, (43.13,3.04)))
tsmc350nm_amplifier9t_fg.add(gdstk.Reference(c_m1_pactive_cdns_74657358_, (26.01,1.22)))
tsmc350nm_amplifier9t_fg.add(gdstk.Reference(c_m1_nwell_cdns_7465735801___, (5.44,15.85)))
tsmc350nm_amplifier9t_fg.add(gdstk.Reference(c_m1_poly1_cdns_7465735801_____, (5.14,13.1)))
tsmc350nm_amplifier9t_fg.add(gdstk.Reference(c_m1_poly1_cdns_7465735801_____, (6.04,14.35)))
tsmc350nm_amplifier9t_fg.add(gdstk.Reference(c_m1_poly1_cdns_7465735801_____, (2.85,17.95)))
tsmc350nm_amplifier9t_fg.add(gdstk.Reference(c_m1_pactive_cdns_74657358__, (16.39,14.27)))
tsmc350nm_amplifier9t_fg.add(gdstk.Label('VD_P', (0.74,17.06), layer=40, texttype=0))
tsmc350nm_amplifier9t_fg.add(gdstk.Label('Vout', (59.67,1.78), layer=40, texttype=0))
tsmc350nm_amplifier9t_fg.add(gdstk.Label('VIN_PLUS', (1.22,3.54), layer=40, texttype=0))
tsmc350nm_amplifier9t_fg.add(gdstk.Label('VD_R', (0.72,11.96), layer=40, texttype=0))
tsmc350nm_amplifier9t_fg.add(gdstk.Label('VIN_MINUS', (1.31,7.76), layer=40, texttype=0))
tsmc350nm_amplifier9t_fg.add(gdstk.Label('GND_b', (52.31,1.13), layer=41, texttype=0))
tsmc350nm_amplifier9t_fg.add(gdstk.Label('VPWR', (42.84,21.62), layer=41, texttype=0))
tsmc350nm_amplifier9t_fg.add(gdstk.Label('Vsel_b', (1.38,0.76), layer=41, texttype=0))
tsmc350nm_amplifier9t_fg.add(gdstk.Label('VINJ_b', (14.57,0.76), layer=41, texttype=0))
tsmc350nm_amplifier9t_fg.add(gdstk.Label('Vg_b', (9.78,0.76), layer=41, texttype=0))
tsmc350nm_amplifier9t_fg.add(gdstk.Label('PROG_b', (6.98,0.76), layer=41, texttype=0))
tsmc350nm_amplifier9t_fg.add(gdstk.Label('VTUN_b', (4.18,0.76), layer=41, texttype=0))
tsmc350nm_amplifier9t_fg.add(gdstk.Label('PROG', (6.98,21.36), layer=41, texttype=0))
tsmc350nm_amplifier9t_fg.add(gdstk.Label('VINJ', (14.57,21.36), layer=41, texttype=0))
tsmc350nm_amplifier9t_fg.add(gdstk.Label('Vg', (9.78,21.36), layer=41, texttype=0))
tsmc350nm_amplifier9t_fg.add(gdstk.Label('VTUN', (4.18,21.36), layer=41, texttype=0))
tsmc350nm_amplifier9t_fg.add(gdstk.Label('Vsel', (1.38,21.36), layer=41, texttype=0))
tsmc350nm_amplifier9t_fg.add(gdstk.Label('GND', (52.31,21.73), layer=41, texttype=0))
tsmc350nm_amplifier9t_fg.add(gdstk.Label('VPWR_b', (42.84,1.02), layer=41, texttype=0))

lib.write_gds('TSMC350nm_Amplifier9T_FGBias.gds')
